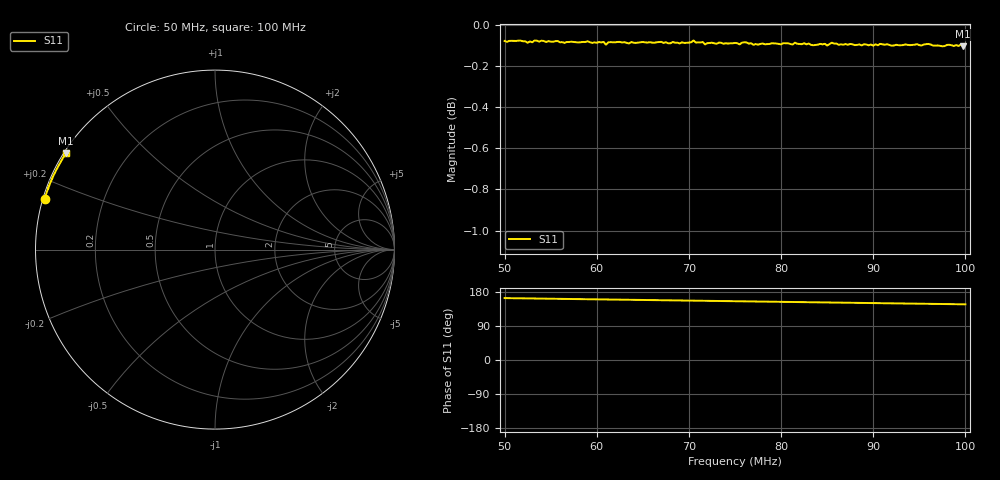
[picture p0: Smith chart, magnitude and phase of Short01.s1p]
!Agilent Technologies,E5072A,MY51200456,A.01.06
!Date: Tue Sep 01 20:08:20 2015
!Data & Calibration Information:
!Freq	S11:SOLT1(ON)
!PortZ  Port1:50+j0
!Above PortZ is port z conversion or system Z0 setting when saving the data.
!When reading, reference impedance value at option line is always used.
# Hz S dB R 50
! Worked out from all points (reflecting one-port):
!   201 points, 50 MHz to 100 MHz, reference 50 ohm
!   lowest |S11| = -0.1 dB at 99.75 MHz (marker M1), VSWR 165.37, Z = 0.329 + j14.8 ohm
!   phase of S11 starts at 163 deg and turns -16 deg over the sweep
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5e7  -0.08 163.3
5.25e7  -0.09 162.5
5.325e7  -0.08 162.3
5.475e7  -0.08 161.7
5.625e7  -0.08 161.3
6.025e7  -0.08 159.9
6.075e7  -0.08 159.8
6.1e7  -0.10 159.8
6.125e7  -0.09 159.6
6.25e7  -0.08 159.2
6.875e7  -0.09 157.2
7.025e7  -0.08 156.7
7.05e7  -0.08 156.6
7.175e7  -0.10 156.2
7.5e7  -0.09 155.2
7.55e7  -0.10 154.9
8.125e7  -0.10 153.1
8.75e7  -0.09 151.1
9e7  -0.10 150.2
9.15e7  -0.09 149.7
9.2e7  -0.10 149.6
9.35e7  -0.10 149.1
9.375e7  -0.10 148.9
9.4e7  -0.10 148.9
9.925e7  -0.10 147.1
9.95e7  -0.10 147.1
9.975e7  -0.11 147.0
1e8  -0.09 146.9
